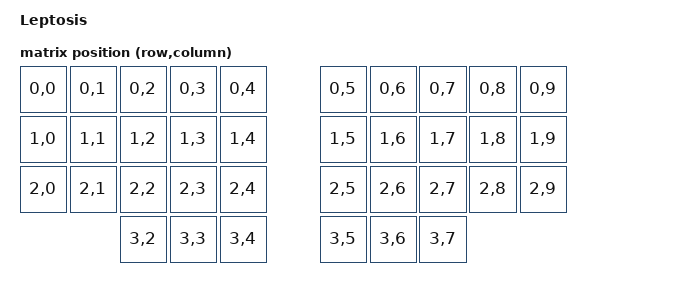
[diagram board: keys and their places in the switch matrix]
/*
*
* Copyright (c) 2025 Cheyao
* SPDX-License-Identifier: MIT
*
*/
/dts-v1/;
#include <nordic/nrf52840_qiaa.dtsi>

#include <dt-bindings/zmk/matrix_transform.h>

/ {
    model = "Leptosis";
    compatible = "leptosis";

    chosen {
        zephyr,code-partition = &code_partition;
        zephyr,sram = &sram0;
        zephyr,flash = &flash0;
        zmk,kscan = &kscan0;
		zmk,matrix_transform = &default_transform;
    };

    default_transform: keymap_transform_0 {
        compatible = "zmk,matrix-transform";
        columns = <10>;
        rows = <4>;

        map = <
            RC(0,0) RC(0,1) RC(0,2) RC(0,3) RC(0,4)  RC(0,5) RC(0,6) RC(0,7) RC(0,8) RC(0,9)
            RC(1,0) RC(1,1) RC(1,2) RC(1,3) RC(1,4)  RC(1,5) RC(1,6) RC(1,7) RC(1,8) RC(1,9)
            RC(2,0) RC(2,1) RC(2,2) RC(2,3) RC(2,4)  RC(2,5) RC(2,6) RC(2,7) RC(2,8) RC(2,9)
                            RC(3,2) RC(3,3) RC(3,4)  RC(3,5) RC(3,6) RC(3,7)
        >;
    };
};

&gpio0 {
	status = "okay";
};

&gpio1 {
	status = "okay";
};

&usbd {
    status = "okay";
};

&i2c0 {
	status = "okay";
	compatible = "nordic,nrf-twim";
	pinctrl-0 = <&i2c0_default>;
    pinctrl-1 = <&i2c0_sleep>;
    pinctrl-names = "default", "sleep";
	clock-frequency = <100000>;

	fuelgauge: max17048@36 {
		compatible = "zmk,maxim-max17048";
		reg = <0x36>;
	};
};


&flash0 {
    /*
     * For more information, see:
     * http://docs.zephyrproject.org/latest/devices/dts/flash_partitions.html
     */
    partitions {
        compatible = "fixed-partitions";
        #address-cells = <1>;
        #size-cells = <1>;

        sd_partition: partition@0 {
			label = "softdevice";
            reg = <0x00000000 0x00026000>;
        };
        code_partition: partition@26000 {
			label = "code_partition";
            reg = <0x00026000 0x000c6000>;
        };

        /*
         * The flash starting at 0x000ec000 and ending at
         * 0x000f3fff is reserved for use by the application.
         */

        /*
         * Storage partition will be used by FCB/LittleFS/NVS
         * if enabled.
         */
        storage_partition: partition@ec000 {
			label = "storage";
            reg = <0x000ec000 0x00008000>;
        };

        boot_partition: partition@f4000 {
			label = "adafruit_boot";
            reg = <0x000f4000 0x0000c000>;
        };
    };
};
